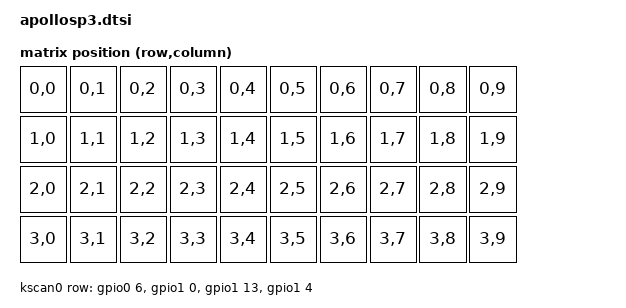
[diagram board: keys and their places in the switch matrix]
// このファイルが左右の共通の設定ファイルとなります。
// 左右で共通する項目はここで定義し、左右で独立で設定するものはoverlayファイルに書きます。


#include <dt-bindings/zmk/matrix_transform.h>

/ {
    chosen {
        zmk,kscan = &kscan0;
        zmk,physical-layout = &physical_layout0;
    };

    default_transform: matrix_transform {
        compatible = "zmk,matrix-transform";
        columns = <10>;
        rows = <4>;
        map = <
            RC(0,0) RC(0,1) RC(0,2) RC(0,3) RC(0,4)  RC(0,5) RC(0,6) RC(0,7) RC(0,8) RC(0,9)
            RC(1,0) RC(1,1) RC(1,2) RC(1,3) RC(1,4)  RC(1,5) RC(1,6) RC(1,7) RC(1,8) RC(1,9)
            RC(2,0) RC(2,1) RC(2,2) RC(2,3) RC(2,4)  RC(2,5) RC(2,6) RC(2,7) RC(2,8) RC(2,9)
            RC(3,0) RC(3,1) RC(3,2) RC(3,3) RC(3,4)  RC(3,5) RC(3,6) RC(3,7) RC(3,8) RC(3,9)
        >;
    };

    physical_layout0: physical_layout_0 {
        compatible = "zmk,physical-layout";
        display-name = "Default Layout";
        kscan = <&kscan0>;
        transform = <&default_transform>;
    };

    kscan0: kscan {
        compatible = "zmk,kscan-gpio-matrix";
        label = "KSCAN";
        diode-direction = "col2row";

        row-gpios
            = <&gpio0 6  (GPIO_ACTIVE_HIGH | GPIO_PULL_DOWN)> // Row_0: 006/D1
            , <&gpio1 0  (GPIO_ACTIVE_HIGH | GPIO_PULL_DOWN)> // Row_1: 100/D6
            , <&gpio1 13 (GPIO_ACTIVE_HIGH | GPIO_PULL_DOWN)> // Row_2: 113/D15
            , <&gpio1 4  (GPIO_ACTIVE_HIGH | GPIO_PULL_DOWN)> // Row_3: 104/D8
            ;
    };
};
